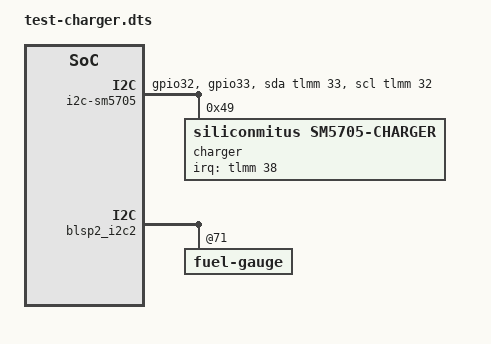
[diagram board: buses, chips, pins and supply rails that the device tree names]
// SPDX-License-Identifier: BSD-3-Clause
/*
 * Charger test: SM5705 charger / MUIC.
 * Stock (msm8996-sm5705.dtsi) bit-bangs an I2C bus on TLMM 33 (SDA) /
 * 32 (SCL), which are HDMI DDC pins, not a BLSP pair:
 *   0x25 SM5705 MUIC, interrupt PM8994 GPIO 4
 *   0x49 SM5705 charger + flash LED, interrupt TLMM 38 (pull-up)
 * Charging enable is PM8994 GPIO 13, active low; the bootloader leaves it
 * low.
 *
 * Without a driver the charger keeps the settings it boots with: BATREG 0x27
 * (4.38 V) and top-off 200 mA. Stock sets 4.30 V and 300 mA at boot; the
 * driver takes both from the battery node.
 */

#include "test-battery.dts"

/ {
	i2c-sm5705 {
		compatible = "i2c-gpio";
		sda-gpios = <&tlmm 33 (GPIO_ACTIVE_HIGH | GPIO_OPEN_DRAIN)>;
		scl-gpios = <&tlmm 32 (GPIO_ACTIVE_HIGH | GPIO_OPEN_DRAIN)>;
		i2c-gpio,delay-us = <2>;
		pinctrl-names = "default";
		pinctrl-0 = <&sm5705_i2c_default>;
		#address-cells = <1>;
		#size-cells = <0>;

		charger: charger@49 {
			compatible = "siliconmitus,sm5705-charger";
			reg = <0x49>;
			interrupts-extended = <&tlmm 38 IRQ_TYPE_LEVEL_LOW>;
			pinctrl-names = "default";
			pinctrl-0 = <&charger_int_default>;
			monitored-battery = <&battery>;
		};
	};
};

&battery {
	charge-term-current-microamp = <300000>;
};

&blsp2_i2c2 {
	fuel-gauge@71 {
		power-supplies = <&charger>;
	};
};

&tlmm {
	sm5705_i2c_default: sm5705-i2c-default-state {
		pins = "gpio32", "gpio33";
		function = "gpio";
		drive-strength = <2>;
		bias-disable;
	};

	charger_int_default: charger-int-default-state {
		pins = "gpio38";
		function = "gpio";
		drive-strength = <2>;
		bias-pull-up;
	};
};
